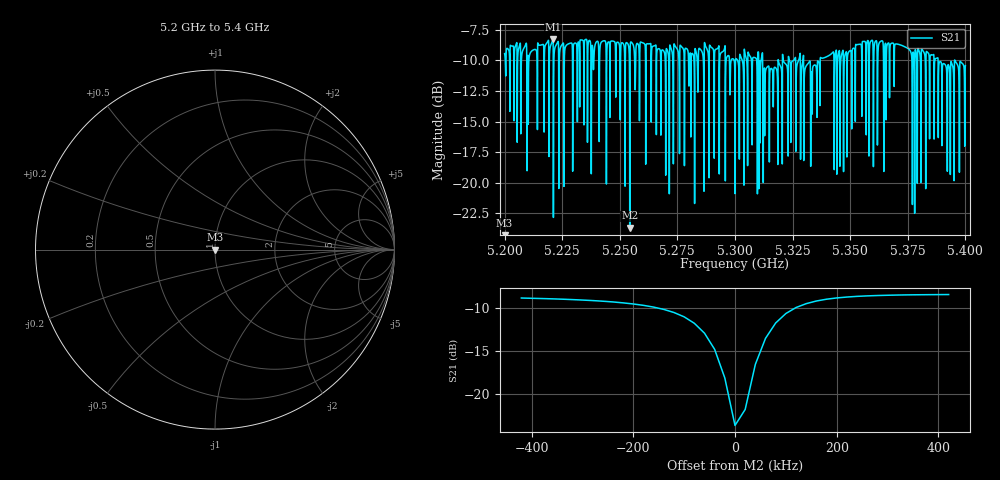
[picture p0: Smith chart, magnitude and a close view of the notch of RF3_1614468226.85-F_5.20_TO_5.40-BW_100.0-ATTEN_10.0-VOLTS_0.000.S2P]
!Keysight Technologies,E5063A,MY54502693,A.05.04
!Date: Sat Feb 27 16:24:05 2021
!Data & Calibration Information:
!Freq	S11:NONE(--)	S21:NONE(--)	S12:NONE(--)	S22:NONE(--)
# Hz S RI R 50
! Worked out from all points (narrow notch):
!   10000 points, 5.2 GHz to 5.4 GHz, reference 50 ohm
!   highest |S21| = -8.26 dB at 5.221 GHz (marker M1); lowest = -23.7 dB at 5.2543 GHz (marker M2)
!   notch at M2: 14.3 dB deep, 70.8 kHz wide at half that depth
!   lowest |S11| = - dB at 5.2 GHz (marker M3), VSWR 1.00, Z = 50 + j0 ohm
!   |S11| at or under -10 dB: start of sweep to end of sweep
!   S12 and S22 are empty: the file has one direction only
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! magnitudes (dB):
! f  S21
! 5.2 GHz  -9.4
! 5.2086 GHz  -8.9
! 5.2106 GHz  -9.9
! 5.221 GHz  -8.3
! 5.2333 GHz  -8.3
! 5.2383 GHz  -9.3
! 5.2428 GHz  -8.4
! 5.2543 GHz  -23.7
! 5.2667 GHz  -9.0
! 5.2831 GHz  -9.3
! 5.2898 GHz  -9.0
! 5.3 GHz  -17.0
! 5.3086 GHz  -9.8
! 5.313 GHz  -11.5
! 5.3253 GHz  -10.0
! 5.3334 GHz  -10.9
! 5.3419 GHz  -9.5
! 5.3451 GHz  -9.3
! 5.3533 GHz  -8.7
! 5.3667 GHz  -8.6
! 5.3926 GHz  -10.4
! 5.4 GHz  -10.4
